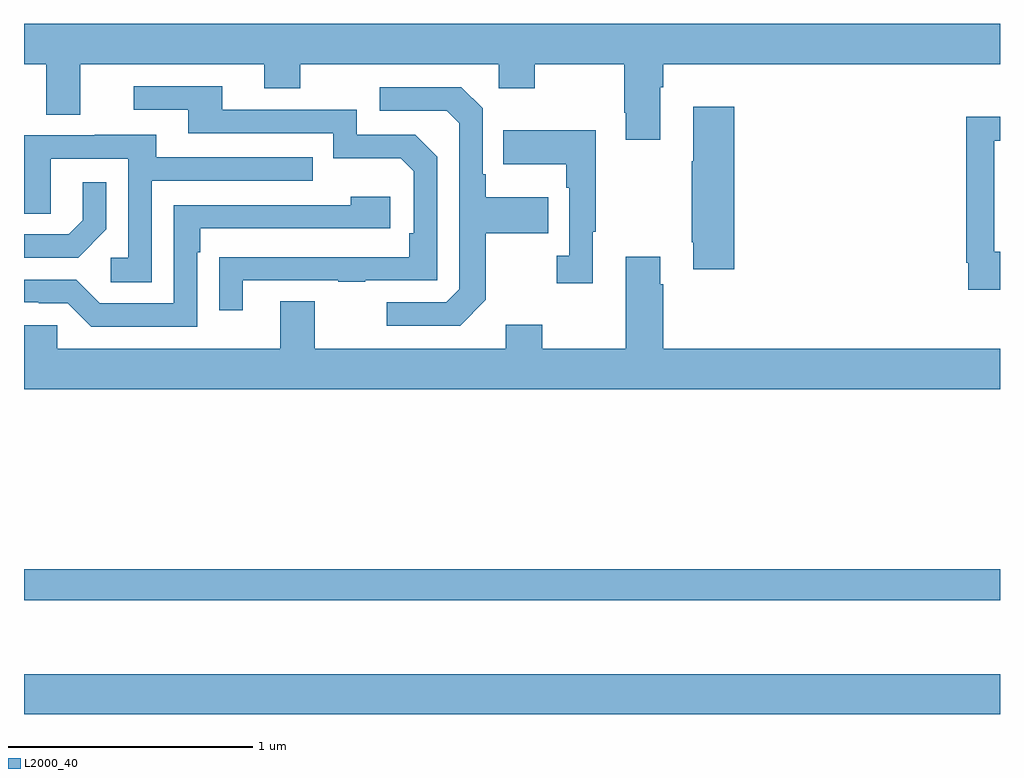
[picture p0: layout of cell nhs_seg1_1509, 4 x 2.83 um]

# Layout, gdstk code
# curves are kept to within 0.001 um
import gdstk
lib = gdstk.Library(unit=1e-6, precision=1e-09)
def R(c, l, rs):  # rectangles x0, y0, x1, y1
    for r in rs: c.add(gdstk.rectangle(r[:2], r[2:], *l))
def P(c, l, *ps):  # polygons
    for p in ps: c.add(gdstk.Polygon(p, *l))
L2000_40 = (2000, 40)

nhs_seg1_1509 = lib.new_cell('nhs_seg1_1509')
R(nhs_seg1_1509, L2000_40, [(193,542.408,197,542.572), (193,542.874,197,543.002)])
P(nhs_seg1_1509, L2000_40, [(195.607,544.976),(195.62,544.976),(195.62,545.072),(197,545.072),(197,545.236),(193,545.236),(193,545.072),(193.091,545.072),(193.091,544.864),(193.231,544.864),(193.231,545.072),(193.985,545.072),(193.985,544.973),(194.133,544.973),(194.133,545.072),(194.946,545.072),(194.946,544.973),(195.093,544.973),(195.093,545.072),(195.46,545.072),(195.46,544.873),(195.467,544.873),(195.467,544.761),(195.607,544.761)],
  [(193.897,544.185),(194.287,544.185),(194.287,544.18),(194.399,544.18),(194.399,544.185),(194.694,544.185),(194.694,544.692),(194.604,544.782),(194.364,544.782),(194.364,544.884),(193.813,544.884),(193.813,544.98),(193.449,544.98),(193.449,544.884),(193.673,544.884),(193.673,544.788),(194.268,544.788),(194.268,544.685),(194.545,544.685),(194.598,544.632),(194.598,544.378),(194.578,544.378),(194.578,544.281),(193.801,544.28),(193.801,544.062),(193.897,544.062)],
  [(194.893,544.105),(194.893,544.378),(195.149,544.378),(195.149,544.525),(194.893,544.525),(194.893,544.621),(194.88,544.621),(194.88,544.89),(194.793,544.977),(194.457,544.977),(194.457,544.881),(194.733,544.881),(194.784,544.83),(194.784,544.149),(194.73,544.095),(194.487,544.095),(194.487,543.999),(194.787,543.999)],
  [(195.911,544.897),(195.743,544.897),(195.743,544.673),(195.736,544.673),(195.736,544.342),(195.743,544.342),(195.743,544.23),(195.911,544.23)],
  [(197,544.302),(196.977,544.302),(196.977,544.758),(197,544.758),(197,544.856),(196.861,544.856),(196.861,544.258),(196.869,544.258),(196.869,544.146),(197,544.146)],
  [(195.331,544.385),(195.343,544.385),(195.343,544.801),(194.965,544.801),(194.965,544.661),(195.222,544.661),(195.222,544.565),(195.234,544.565),(195.234,544.286),(195.183,544.286),(195.183,544.173),(195.331,544.173)],
  [(193.524,544.593),(194.183,544.593),(194.183,544.689),(193.543,544.689),(193.543,544.783),(193.289,544.783),(193.289,544.779),(193,544.779),(193,544.459),(193.11,544.459),(193.11,544.683),(193.428,544.683),(193.428,544.278),(193.356,544.278),(193.356,544.177),(193.524,544.177)],
  [(193.338,544.394),(193.338,544.588),(193.241,544.588),(193.241,544.431),(193.184,544.374),(193,544.374),(193,544.278),(193.222,544.278)],
  [(193.71,544.301),(193.723,544.301),(193.723,544.398),(194.5,544.398),(194.5,544.528),(194.339,544.528),(194.339,544.494),(193.614,544.494),(193.614,544.092),(193.311,544.092),(193.215,544.188),(193,544.188),(193,544.095),(193.061,544.095),(193.061,544.092),(193.179,544.092),(193.275,543.996),(193.71,543.996)],
  [(197,543.904),(195.62,543.904),(195.62,544.169),(195.607,544.169),(195.607,544.282),(195.467,544.282),(195.467,543.904),(195.123,543.904),(195.123,544.003),(194.975,544.003),(194.975,543.904),(194.191,543.904),(194.191,544.099),(194.051,544.099),(194.051,543.904),(193.137,543.904),(193.137,544.002),(193,544.002),(193,543.74),(197,543.74)])

lib.write_gds('nhs_seg1_1509.gds')
